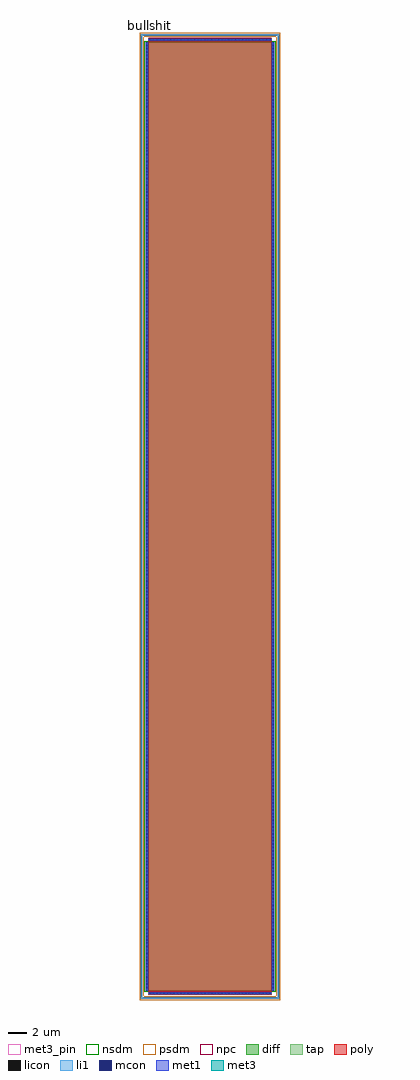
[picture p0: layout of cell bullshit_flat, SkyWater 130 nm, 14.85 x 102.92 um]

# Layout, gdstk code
import gdstk
lib = gdstk.Library(unit=1e-6, precision=1e-09)
def R(c, l, rs):  # rectangles x0, y0, x1, y1
    for r in rs: c.add(gdstk.rectangle(r[:2], r[2:], *l))
def A(c, l, x, y, w, h, nx, ny, dx, dy):  # array of equal rectangles
    R(c, l, [(x+i*dx, y+j*dy, x+i*dx+w, y+j*dy+h) for i in range(nx) for j in range(ny)])
diff = (65, 20)
tap = (65, 44)
poly = (66, 20)
licon = (66, 44)
li1 = (67, 20)
mcon = (67, 44)
met1 = (68, 20)
met3_pin = (70, 16)
met3 = (70, 20)
nsdm = (93, 44)
psdm = (94, 20)
npc = (95, 20)

bullshit_flat = lib.new_cell('bullshit_flat')
R(bullshit_flat, diff, [(0.69,1.05,14.27,101.05)])
R(bullshit_flat, tap, [(0.18,0.18,14.78,0.35), (0.18,0.35,0.35,101.75), (14.61,0.35,14.78,101.75), (0.18,101.75,14.78,101.92)])
R(bullshit_flat, poly, [(0.98,0.61,13.98,101.49)])
A(bullshit_flat, licon, 0.765, 0.18, 0.17, 0.17, 40, 2, 0.34, 101.57)
A(bullshit_flat, licon, 1.105, 0.69, 0.17, 0.17, 38, 2, 0.34, 100.55)
A(bullshit_flat, licon, 0.18, 0.815, 0.17, 0.17, 1, 296, 0, 0.34)
A(bullshit_flat, licon, 14.61, 0.815, 0.17, 0.17, 1, 296, 0, 0.34)
A(bullshit_flat, licon, 0.75, 1.155, 0.17, 0.17, 1, 294, 0, 0.34)
A(bullshit_flat, licon, 14.04, 1.155, 0.17, 0.17, 1, 294, 0, 0.34)
R(bullshit_flat, li1, [(0.18,0.18,14.78,0.35), (0.18,0.35,0.35,101.75), (14.61,0.35,14.78,101.75), (0.98,0.69,13.98,0.86), (0.75,1.03,0.92,101.07), (14.04,1.03,14.21,101.07), (0.98,101.24,13.98,101.41), (0.18,101.75,14.78,101.92)])
A(bullshit_flat, mcon, 1.095, 0.69, 0.17, 0.17, 36, 2, 0.36, 100.55)
A(bullshit_flat, mcon, 0.75, 1.285, 0.17, 0.17, 1, 277, 0, 0.36)
A(bullshit_flat, mcon, 14.04, 1.285, 0.17, 0.17, 1, 277, 0, 0.36)
R(bullshit_flat, met1, [(1,0.66,13.96,0.89), (0.72,1.05,0.95,101.05), (14.01,1.05,14.24,101.05), (1,101.21,13.96,101.44)])
R(bullshit_flat, met3_pin, [(0.85,102.7,1.42,102.92)])
R(bullshit_flat, met3, [(0.78,102.63,1.49,102.98)])
R(bullshit_flat, nsdm, [(0.565,0.925,14.395,101.175)])
R(bullshit_flat, psdm, [(0.055,0.055,14.905,0.475), (0.055,0.475,0.475,101.625), (14.485,0.475,14.905,101.625), (0.055,101.625,14.905,102.045)])
R(bullshit_flat, npc, [(1.005,0.59,13.955,0.96), (1.005,101.14,13.955,101.51)])
bullshit_flat.add(gdstk.Label('bullshit', (1.135,102.81), layer=70, texttype=5))

lib.write_gds('bullshit_flat.gds')
